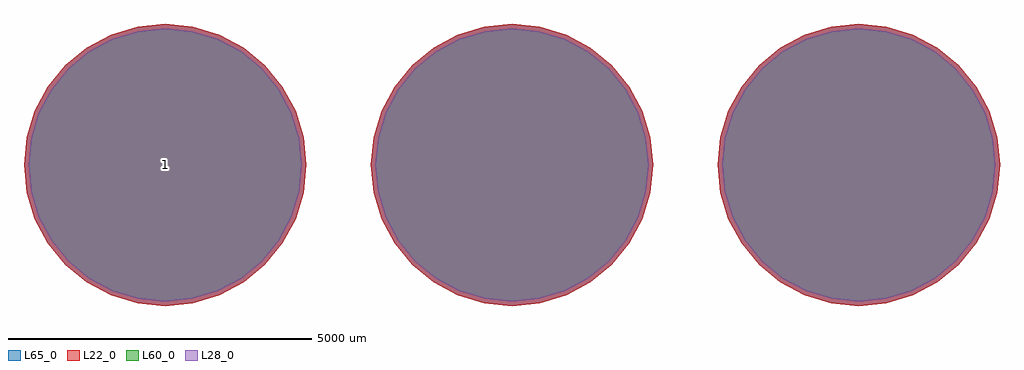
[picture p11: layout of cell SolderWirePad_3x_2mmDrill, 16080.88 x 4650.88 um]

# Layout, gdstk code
import gdstk
lib = gdstk.Library(unit=1e-6, precision=1e-09)
def P(c, l, *ps):  # polygons
    for p in ps: c.add(gdstk.Polygon(p, *l))
L22_0 = (22, 0)
L28_0 = (28, 0)
L60_0 = (60, 0)
L65_0 = (65, 0)

solderwirepad_3x_2mmdril = lib.new_cell('SolderWirePad_3x_2mmDrill')
P(solderwirepad_3x_2mmdril, L22_0, [(8040.44,0),(7995.757,453.671),(7863.426,889.907),(7648.533,1291.945),(7359.334,1644.334),(7006.945,1933.533),(6604.907,2148.426),(6168.671,2280.757),(5715,2325.44),(5261.329,2280.757),(4825.093,2148.426),(4423.055,1933.533),(4070.666,1644.334),(3781.467,1291.945),(3566.574,889.907),(3434.243,453.671),(3389.56,0),(3434.243,-453.671),(3566.574,-889.907),(3781.467,-1291.945),(4070.666,-1644.334),(4423.055,-1933.533),(4825.093,-2148.426),(5261.329,-2280.757),(5715,-2325.44),(6168.671,-2280.757),(6604.907,-2148.426),(7006.945,-1933.533),(7359.334,-1644.334),(7648.533,-1291.945),(7863.426,-889.907),(7995.757,-453.671)],
  [(2325.44,0),(2280.757,453.671),(2148.426,889.907),(1933.533,1291.945),(1644.334,1644.334),(1291.945,1933.533),(889.907,2148.426),(453.671,2280.757),(0,2325.44),(-453.671,2280.757),(-889.907,2148.426),(-1291.945,1933.533),(-1644.334,1644.334),(-1933.533,1291.945),(-2148.426,889.907),(-2280.757,453.671),(-2325.44,0),(-2280.757,-453.671),(-2148.426,-889.907),(-1933.533,-1291.945),(-1644.334,-1644.334),(-1291.945,-1933.533),(-889.907,-2148.426),(-453.671,-2280.757),(0,-2325.44),(453.671,-2280.757),(889.907,-2148.426),(1291.945,-1933.533),(1644.334,-1644.334),(1933.533,-1291.945),(2148.426,-889.907),(2280.757,-453.671)],
  [(-3389.56,0),(-3434.243,453.671),(-3566.574,889.907),(-3781.467,1291.945),(-4070.666,1644.334),(-4423.055,1933.533),(-4825.093,2148.426),(-5261.329,2280.757),(-5715,2325.44),(-6168.671,2280.757),(-6604.907,2148.426),(-7006.945,1933.533),(-7359.334,1644.334),(-7648.533,1291.945),(-7863.426,889.907),(-7995.757,453.671),(-8040.44,0),(-7995.757,-453.671),(-7863.426,-889.907),(-7648.533,-1291.945),(-7359.334,-1644.334),(-7006.945,-1933.533),(-6604.907,-2148.426),(-6168.671,-2280.757),(-5715,-2325.44),(-5261.329,-2280.757),(-4825.093,-2148.426),(-4423.055,-1933.533),(-4070.666,-1644.334),(-3781.467,-1291.945),(-3566.574,-889.907),(-3434.243,-453.671)])
P(solderwirepad_3x_2mmdril, L28_0, [(7965.44,0),(7922.198,439.039),(7794.135,861.206),(7586.172,1250.277),(7306.301,1591.301),(6965.277,1871.172),(6576.206,2079.135),(6154.039,2207.198),(5715,2250.44),(5275.961,2207.198),(4853.794,2079.135),(4464.723,1871.172),(4123.699,1591.301),(3843.828,1250.277),(3635.865,861.206),(3507.802,439.039),(3464.56,0),(3507.802,-439.039),(3635.865,-861.206),(3843.828,-1250.277),(4123.699,-1591.301),(4464.723,-1871.172),(4853.794,-2079.135),(5275.961,-2207.198),(5715,-2250.44),(6154.039,-2207.198),(6576.206,-2079.135),(6965.277,-1871.172),(7306.301,-1591.301),(7586.172,-1250.277),(7794.135,-861.206),(7922.198,-439.039)],
  [(2250.44,0),(2207.198,439.039),(2079.135,861.206),(1871.172,1250.277),(1591.301,1591.301),(1250.277,1871.172),(861.206,2079.135),(439.039,2207.198),(0,2250.44),(-439.039,2207.198),(-861.206,2079.135),(-1250.277,1871.172),(-1591.301,1591.301),(-1871.172,1250.277),(-2079.135,861.206),(-2207.198,439.039),(-2250.44,0),(-2207.198,-439.039),(-2079.135,-861.206),(-1871.172,-1250.277),(-1591.301,-1591.301),(-1250.277,-1871.172),(-861.206,-2079.135),(-439.039,-2207.198),(0,-2250.44),(439.039,-2207.198),(861.206,-2079.135),(1250.277,-1871.172),(1591.301,-1591.301),(1871.172,-1250.277),(2079.135,-861.206),(2207.198,-439.039)],
  [(-3464.56,0),(-3507.802,439.039),(-3635.865,861.206),(-3843.828,1250.277),(-4123.699,1591.301),(-4464.723,1871.172),(-4853.794,2079.135),(-5275.961,2207.198),(-5715,2250.44),(-6154.039,2207.198),(-6576.206,2079.135),(-6965.277,1871.172),(-7306.301,1591.301),(-7586.172,1250.277),(-7794.135,861.206),(-7922.198,439.039),(-7965.44,0),(-7922.198,-439.039),(-7794.135,-861.206),(-7586.172,-1250.277),(-7306.301,-1591.301),(-6965.277,-1871.172),(-6576.206,-2079.135),(-6154.039,-2207.198),(-5715,-2250.44),(-5275.961,-2207.198),(-4853.794,-2079.135),(-4464.723,-1871.172),(-4123.699,-1591.301),(-3843.828,-1250.277),(-3635.865,-861.206),(-3507.802,-439.039)])
P(solderwirepad_3x_2mmdril, L60_0, [(7965.44,0),(7922.198,439.039),(7794.135,861.206),(7586.172,1250.277),(7306.301,1591.301),(6965.277,1871.172),(6576.206,2079.135),(6154.039,2207.198),(5715,2250.44),(5275.961,2207.198),(4853.794,2079.135),(4464.723,1871.172),(4123.699,1591.301),(3843.828,1250.277),(3635.865,861.206),(3507.802,439.039),(3464.56,0),(3507.802,-439.039),(3635.865,-861.206),(3843.828,-1250.277),(4123.699,-1591.301),(4464.723,-1871.172),(4853.794,-2079.135),(5275.961,-2207.198),(5715,-2250.44),(6154.039,-2207.198),(6576.206,-2079.135),(6965.277,-1871.172),(7306.301,-1591.301),(7586.172,-1250.277),(7794.135,-861.206),(7922.198,-439.039)],
  [(2250.44,0),(2207.198,439.039),(2079.135,861.206),(1871.172,1250.277),(1591.301,1591.301),(1250.277,1871.172),(861.206,2079.135),(439.039,2207.198),(0,2250.44),(-439.039,2207.198),(-861.206,2079.135),(-1250.277,1871.172),(-1591.301,1591.301),(-1871.172,1250.277),(-2079.135,861.206),(-2207.198,439.039),(-2250.44,0),(-2207.198,-439.039),(-2079.135,-861.206),(-1871.172,-1250.277),(-1591.301,-1591.301),(-1250.277,-1871.172),(-861.206,-2079.135),(-439.039,-2207.198),(0,-2250.44),(439.039,-2207.198),(861.206,-2079.135),(1250.277,-1871.172),(1591.301,-1591.301),(1871.172,-1250.277),(2079.135,-861.206),(2207.198,-439.039)],
  [(-3464.56,0),(-3507.802,439.039),(-3635.865,861.206),(-3843.828,1250.277),(-4123.699,1591.301),(-4464.723,1871.172),(-4853.794,2079.135),(-5275.961,2207.198),(-5715,2250.44),(-6154.039,2207.198),(-6576.206,2079.135),(-6965.277,1871.172),(-7306.301,1591.301),(-7586.172,1250.277),(-7794.135,861.206),(-7922.198,439.039),(-7965.44,0),(-7922.198,-439.039),(-7794.135,-861.206),(-7586.172,-1250.277),(-7306.301,-1591.301),(-6965.277,-1871.172),(-6576.206,-2079.135),(-6154.039,-2207.198),(-5715,-2250.44),(-5275.961,-2207.198),(-4853.794,-2079.135),(-4464.723,-1871.172),(-4123.699,-1591.301),(-3843.828,-1250.277),(-3635.865,-861.206),(-3507.802,-439.039)])
P(solderwirepad_3x_2mmdril, L65_0, [(8040.44,0),(7995.757,453.671),(7863.426,889.907),(7648.533,1291.945),(7359.334,1644.334),(7006.945,1933.533),(6604.907,2148.426),(6168.671,2280.757),(5715,2325.44),(5261.329,2280.757),(4825.093,2148.426),(4423.055,1933.533),(4070.666,1644.334),(3781.467,1291.945),(3566.574,889.907),(3434.243,453.671),(3389.56,0),(3434.243,-453.671),(3566.574,-889.907),(3781.467,-1291.945),(4070.666,-1644.334),(4423.055,-1933.533),(4825.093,-2148.426),(5261.329,-2280.757),(5715,-2325.44),(6168.671,-2280.757),(6604.907,-2148.426),(7006.945,-1933.533),(7359.334,-1644.334),(7648.533,-1291.945),(7863.426,-889.907),(7995.757,-453.671)],
  [(2325.44,0),(2280.757,453.671),(2148.426,889.907),(1933.533,1291.945),(1644.334,1644.334),(1291.945,1933.533),(889.907,2148.426),(453.671,2280.757),(0,2325.44),(-453.671,2280.757),(-889.907,2148.426),(-1291.945,1933.533),(-1644.334,1644.334),(-1933.533,1291.945),(-2148.426,889.907),(-2280.757,453.671),(-2325.44,0),(-2280.757,-453.671),(-2148.426,-889.907),(-1933.533,-1291.945),(-1644.334,-1644.334),(-1291.945,-1933.533),(-889.907,-2148.426),(-453.671,-2280.757),(0,-2325.44),(453.671,-2280.757),(889.907,-2148.426),(1291.945,-1933.533),(1644.334,-1644.334),(1933.533,-1291.945),(2148.426,-889.907),(2280.757,-453.671)],
  [(-3389.56,0),(-3434.243,453.671),(-3566.574,889.907),(-3781.467,1291.945),(-4070.666,1644.334),(-4423.055,1933.533),(-4825.093,2148.426),(-5261.329,2280.757),(-5715,2325.44),(-6168.671,2280.757),(-6604.907,2148.426),(-7006.945,1933.533),(-7359.334,1644.334),(-7648.533,1291.945),(-7863.426,889.907),(-7995.757,453.671),(-8040.44,0),(-7995.757,-453.671),(-7863.426,-889.907),(-7648.533,-1291.945),(-7359.334,-1644.334),(-7006.945,-1933.533),(-6604.907,-2148.426),(-6168.671,-2280.757),(-5715,-2325.44),(-5261.329,-2280.757),(-4825.093,-2148.426),(-4423.055,-1933.533),(-4070.666,-1644.334),(-3781.467,-1291.945),(-3566.574,-889.907),(-3434.243,-453.671)])
solderwirepad_3x_2mmdril.add(gdstk.Label('1', (-5715,0), layer=28, texttype=0))
solderwirepad_3x_2mmdril.add(gdstk.Label('type', (1270,-3810), layer=9, texttype=0))
solderwirepad_3x_2mmdril.add(gdstk.Label('devicename', (0,3810), layer=9, texttype=0))

lib.write_gds('SolderWirePad_3x_2mmDrill.gds')
